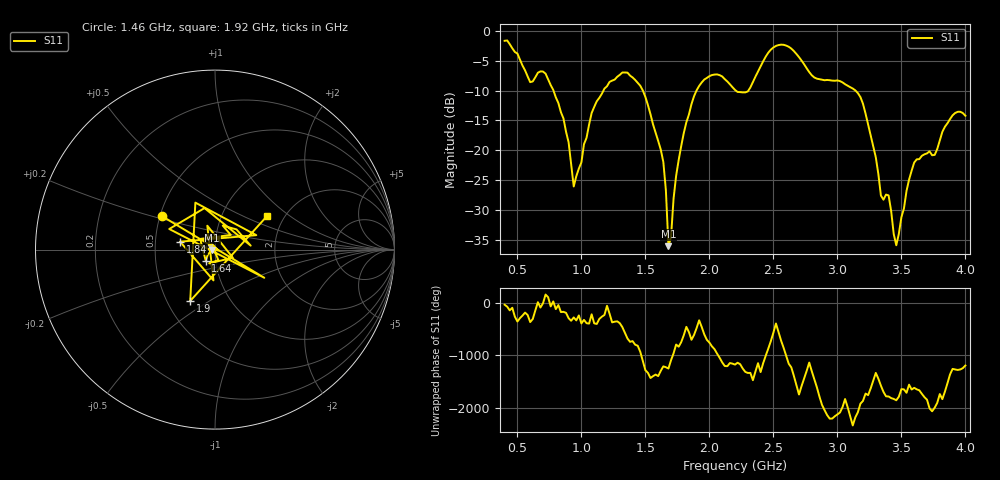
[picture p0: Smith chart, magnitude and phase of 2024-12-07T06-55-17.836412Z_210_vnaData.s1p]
!Created with skrf (http://scikit-rf.org).
# Hz S RI R 50.0
!freq ReS11 ImS11
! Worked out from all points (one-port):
!   181 points, 400 MHz to 4 GHz, reference 50 ohm
!   lowest |S11| = -36.0 dB at 1.68 GHz (marker M1), VSWR 1.03, Z = 48.5 - j0.231 ohm
!   |S11| at or under -10 dB: 781.7 MHz to 1.172 GHz (390.6 MHz wide, 40 % of centre); 1.48 GHz to 1.899 GHz (419.1 MHz wide, 24.8 % of centre); 3.141 GHz to end of sweep (the widest 3 of 4)
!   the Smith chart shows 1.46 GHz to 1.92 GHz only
!   S11 on the Smith chart (normalised r, x): 1.46 GHz: 0.52, +0.22; 1.64 GHz: 0.89, -0.11; 1.84 GHz: 0.67, +0.06; 1.9 GHz: 0.65, -0.42; 1.92 GHz: 1.63, +0.70
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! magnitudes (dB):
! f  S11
! 400 MHz  -1.7
! 600 MHz  -8.6
! 720 MHz  -7.2
! 860 MHz  -14.7
! 940 MHz  -26.0
! 1.08 GHz  -13.7
! 1.3 GHz  -7.4
! 1.46 GHz  -9.2
! 1.64 GHz  -21.9
! 1.66 GHz  -26.6
! 1.68 GHz  -36.0
! 1.76 GHz  -21.6
! 1.84 GHz  -14.0
! 1.9 GHz  -10.0
! 1.92 GHz  -9.2
! 2.06 GHz  -7.3
! 2.2 GHz  -9.9
! 2.3 GHz  -10.1
! 2.5 GHz  -2.8
! 2.66 GHz  -3.4
! 3.1 GHz  -9.4
! 3.2 GHz  -12.2
! 3.34 GHz  -27.6
! 3.4 GHz  -27.5
! 3.46 GHz  -35.9
! 3.56 GHz  -24.9
! 3.9 GHz  -14.1
! 4 GHz  -14.2
